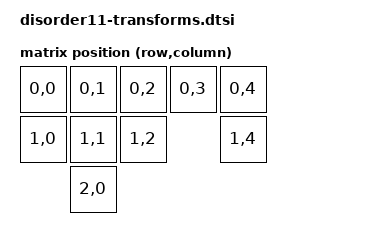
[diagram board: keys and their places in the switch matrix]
#include <dt-bindings/zmk/matrix_transform.h>

/ {
      default_transform: transform {
        compatible = "zmk,matrix-transform";
        columns = <5>;
        rows = <3>;
        map = <
            RC(0,0) RC(0,1) RC(0,2) RC(0,3) RC(0,4)
            RC(1,0) RC(1,1) RC(1,2)         RC(1,4)
                       RC(2,0)
            >;
    };
};
